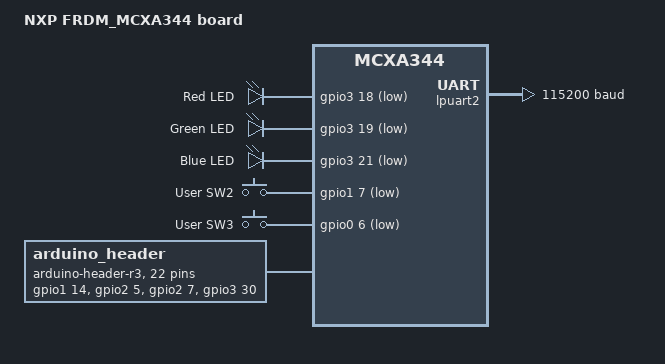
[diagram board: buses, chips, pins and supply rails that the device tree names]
/*
 * Copyright 2025 NXP
 *
 * SPDX-License-Identifier: Apache-2.0
 */

/dts-v1/;

#include <nxp/nxp_mcxa344.dtsi>
#include "frdm_mcxa344-pinctrl.dtsi"
#include <zephyr/dt-bindings/gpio/arduino-header-r3.h>
#include <zephyr/dt-bindings/input/input-event-codes.h>

/ {
	model = "NXP FRDM_MCXA344 board";
	compatible = "nxp,mcxa344", "nxp,mcx";

	aliases{
		led0 = &red_led;
		led1 = &green_led;
		led2 = &blue_led;
		sw0 = &user_button_2;
		sw1 = &user_button_3;
	};

	chosen {
		zephyr,sram = &sram0;
		zephyr,flash = &flash;
		zephyr,flash-controller = &fmu;
		zephyr,code-partition = &slot0_partition;
		zephyr,console = &lpuart2;
		zephyr,shell-uart = &lpuart2;
	};

	leds {
		compatible = "gpio-leds";

		red_led: led_0 {
			gpios = <&gpio3 18 GPIO_ACTIVE_LOW>;
			label = "Red LED";
		};

		green_led: led_1 {
			gpios = <&gpio3 19 GPIO_ACTIVE_LOW>;
			label = "Green LED";
		};

		blue_led: led_2 {
			gpios = <&gpio3 21 GPIO_ACTIVE_LOW>;
			label = "Blue LED";
		};
	};

	gpio_keys {
		compatible = "gpio-keys";

		user_button_2: button_2 {
			label = "User SW2";
			gpios = <&gpio1 7 GPIO_ACTIVE_LOW>;
			zephyr,code = <INPUT_KEY_0>;
		};

		user_button_3: button_3 {
			label = "User SW3";
			gpios = <&gpio0 6 GPIO_ACTIVE_LOW>;
			zephyr,code = <INPUT_KEY_1>;
		};
	};

	arduino_header: arduino-connector {
		compatible = "arduino-header-r3";
		#gpio-cells = <2>;
		gpio-map-mask = <0xffffffff 0xffffffc0>;
		gpio-map-pass-thru = <0 0x3f>;
		gpio-map = <ARDUINO_HEADER_R3_A0 0 &gpio1 14 0>,
			   <ARDUINO_HEADER_R3_A1 0 &gpio2 5 0>,
			   <ARDUINO_HEADER_R3_A2 0 &gpio2 7 0>,
			   <ARDUINO_HEADER_R3_A3 0 &gpio3 30 0>,
			   <ARDUINO_HEADER_R3_A4 0 &gpio1 0 0>,
			   <ARDUINO_HEADER_R3_A5 0 &gpio1 1 0>,
			   <ARDUINO_HEADER_R3_D0 0 &gpio2 3 0>,
			   <ARDUINO_HEADER_R3_D1 0 &gpio2 2 0>,
			   <ARDUINO_HEADER_R3_D2 0 &gpio3 12 0>,
			   <ARDUINO_HEADER_R3_D3 0 &gpio3 14 0>,
			   <ARDUINO_HEADER_R3_D4 0 &gpio1 15 0>,
			   <ARDUINO_HEADER_R3_D5 0 &gpio3 1 0>,
			   <ARDUINO_HEADER_R3_D6 0 &gpio3 17 0>,
			   <ARDUINO_HEADER_R3_D7 0 &gpio3 22 0>,
			   <ARDUINO_HEADER_R3_D8 0 &gpio4 3 0>,
			   <ARDUINO_HEADER_R3_D9 0 &gpio3 13 0>,
			   <ARDUINO_HEADER_R3_D10 0 &gpio3 11 0>,
			   <ARDUINO_HEADER_R3_D11 0 &gpio3 8 0>,
			   <ARDUINO_HEADER_R3_D12 0 &gpio3 9 0>,
			   <ARDUINO_HEADER_R3_D13 0 &gpio3 10 0>,
			   <ARDUINO_HEADER_R3_D14 0 &gpio1 8 0>,
			   <ARDUINO_HEADER_R3_D15 0 &gpio1 9 0>;
	};
};

&cpu0 {
	clock-frequency = <180000000>;
};

&edma0 {
	status = "okay";
};

&gpio0 {
	status = "okay";
};

&gpio1 {
	status = "okay";
};

&gpio2 {
	status = "okay";
};

&gpio3 {
	status = "okay";
};

&gpio4 {
	status = "okay";
};

&lpuart2 {
	status = "okay";
	current-speed = <115200>;
	pinctrl-0 = <&pinmux_lpuart2>;
	pinctrl-names = "default";
};

&flash {
	partitions {
		compatible = "fixed-partitions";
		#address-cells = <1>;
		#size-cells = <1>;

		boot_partition: partition@0 {
			label = "mcuboot";
			reg = <0x00000000 DT_SIZE_K(16)>;
			read-only;
		};

		slot0_partition: partition@4000 {
			label = "image-0";
			reg = <0x00004000 DT_SIZE_K(100)>;
		};

		slot1_partition: partition@1D000 {
			label = "image-1";
			reg = <0x0001D000 DT_SIZE_K(100)>;
		};

		storage_partition: partition@36000 {
			label = "storage";
			reg = <0x00036000 DT_SIZE_K(28)>;
		};
	};
};
